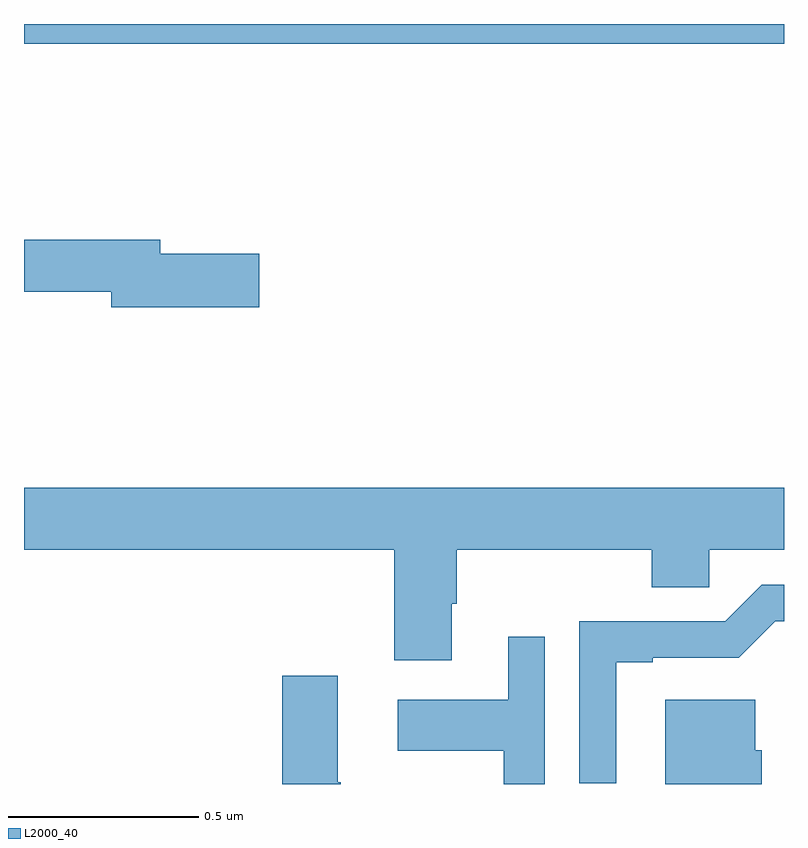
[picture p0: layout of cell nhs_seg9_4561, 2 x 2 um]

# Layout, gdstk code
import gdstk
lib = gdstk.Library(unit=1e-6, precision=1e-09)
def R(c, l, rs):  # rectangles x0, y0, x1, y1
    for r in rs: c.add(gdstk.rectangle(r[:2], r[2:], *l))
def P(c, l, *ps):  # polygons
    for p in ps: c.add(gdstk.Polygon(p, *l))
L2000_40 = (2000, 40)

nhs_seg9_4561 = lib.new_cell('nhs_seg9_4561')
R(nhs_seg9_4561, L2000_40, [(168,1168.448,170,1168.5)])
P(nhs_seg9_4561, L2000_40, [(168.619,1167.896),(168.358,1167.896),(168.358,1167.932),(168,1167.932),(168,1167.796),(168.23,1167.796),(168.23,1167.754),(168.619,1167.754)],
  [(169.126,1166.974),(169.139,1166.974),(169.139,1167.116),(169.652,1167.116),(169.652,1167.018),(169.803,1167.018),(169.803,1167.116),(170,1167.116),(170,1167.28),(168,1167.28),(168,1167.116),(168.974,1167.116),(168.974,1166.826),(169.126,1166.826)],
  [(169.558,1166.82),(169.654,1166.82),(169.654,1166.832),(169.881,1166.832),(169.977,1166.928),(170,1166.928),(170,1167.024),(169.941,1167.024),(169.845,1166.928),(169.461,1166.928),(169.461,1166.502),(169.558,1166.502)],
  [(169.371,1166.887),(169.274,1166.887),(169.274,1166.722),(168.984,1166.722),(168.984,1166.588),(169.263,1166.588),(169.263,1166.5),(169.371,1166.5)],
  [(168.834,1166.504),(168.826,1166.504),(168.826,1166.785),(168.68,1166.785),(168.68,1166.5),(168.834,1166.5)],
  [(169.942,1166.589),(169.924,1166.589),(169.924,1166.722),(169.688,1166.722),(169.688,1166.5),(169.942,1166.5)])

lib.write_gds('nhs_seg9_4561.gds')
